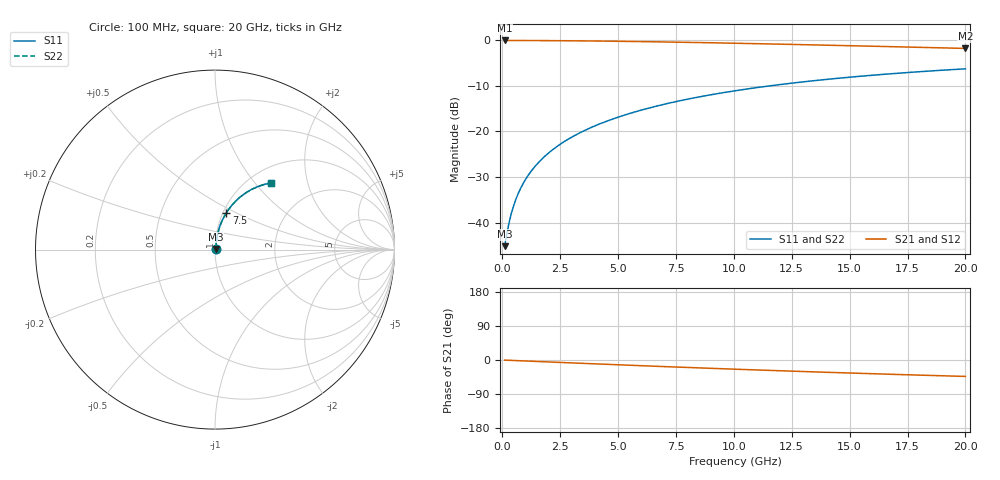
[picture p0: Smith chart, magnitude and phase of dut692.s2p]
! Touchstone file exported from HFSS 2024.1.0
!  File:  C:/UserFiles/LocalFiles/RDL_TSV_Batchsim/temp_RDL_top_692_1779782873.aedt
!  Generated:  04:10:06 PM May 26, 2026
!  Design:  RDL_top
!  Project:  temp_RDL_top_692_1779782873
!  Setup:  Setup1
!  Solution:  Sweep
! Variables:
!  dtsv = 10.80580581um
!  hbump = 3um
!  htsv = 61.67um
!  ldown = 100um
!  lrdl = 548.61um
!  p = 40
!  p1 = 52.22um
!  rhole = 1um
!  t = 450um
!  tdown = 3.915915916um
!  trdl = 3.29um
!  wdown = 15.38538539um
!  wrdl = 12.95um
# GHz S MA R 50.000000
! Terminal data exported
! Port[1] = Box2_T1
! Port[2] = Box2_T2
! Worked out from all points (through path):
!   200 points, 100 MHz to 20 GHz, reference 50 ohm
!   highest |S21| = -0.04 dB at 100 MHz (marker M1); lowest = -1.8 dB at 20 GHz (marker M2)
!   group delay of S21, straight-line fit = 6.02 ps
!   lowest |S11| = -45.2 dB at 100 MHz (marker M3), VSWR 1.01, Z = 50.5 + j0.303 ohm
!   |S11| at or under -10 dB: start of sweep to 11.55 GHz
!   |S22| runs from -45.2 to -6.3 dB; largest |S21 - S12| = 3.5e-15
!   S11 on the Smith chart (normalised r, x): 100 MHz: 1.01, +0.01; 7.5 GHz: 1.04, +0.44; 20 GHz: 1.25, +1.22
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0.1  0.005526 32.9  0.9954 -0.3  0.9954 -0.3  0.005526 32.9
! Gamma 0 0 0 0
! Port Impedance 50 0 50 0
0.2  0.007625 51.7  0.9953 -0.5  0.9953 -0.5  0.007625 51.7
0.3  0.01017 61.4  0.9952 -0.8  0.9952 -0.8  0.01017 61.4
0.4  0.01287 67.0  0.995 -1.1  0.995 -1.1  0.01287 67.0
0.5  0.01564 70.6  0.9948 -1.3  0.9948 -1.3  0.01564 70.6
0.6  0.01842 73.0  0.9947 -1.6  0.9947 -1.6  0.01842 73.0
0.8  0.02404 76.0  0.9943 -2.1  0.9943 -2.1  0.02404 76.0
1.1  0.03251 78.5  0.9937 -2.9  0.9937 -2.9  0.03251 78.5
1.5  0.04387 80.0  0.9928 -3.9  0.9928 -3.9  0.04387 80.0
1.8  0.05241 80.5  0.9919 -4.7  0.9919 -4.7  0.05241 80.5
2.1  0.06098 80.7  0.9909 -5.4  0.9909 -5.4  0.06098 80.7
2.7  0.07812 80.5  0.9885 -6.9  0.9885 -6.9  0.07812 80.5
3.5  0.101 79.8  0.9846 -9.0  0.9846 -9.0  0.1009 79.8
4.2  0.1209 78.8  0.9804 -10.7  0.9804 -10.7  0.1209 78.8
5  0.1435 77.6  0.975 -12.7  0.975 -12.7  0.1435 77.6
5.9  0.1687 76.0  0.968 -14.8  0.968 -14.8  0.1687 76.0
6.8  0.1936 74.3  0.9603 -17.0  0.9603 -17.0  0.1935 74.3
7.5  0.2126 73.0  0.9539 -18.6  0.9539 -18.6  0.2126 73.0
10.1  0.2807 67.9  0.9276 -24.4  0.9276 -24.4  0.2806 67.9
13.4  0.3592 61.5  0.8906 -31.3  0.8906 -31.3  0.3591 61.5
16.7  0.4278 55.5  0.8521 -37.6  0.8521 -37.6  0.4276 55.5
20  0.4863 49.9  0.8139 -43.4  0.8139 -43.4  0.4861 49.8
